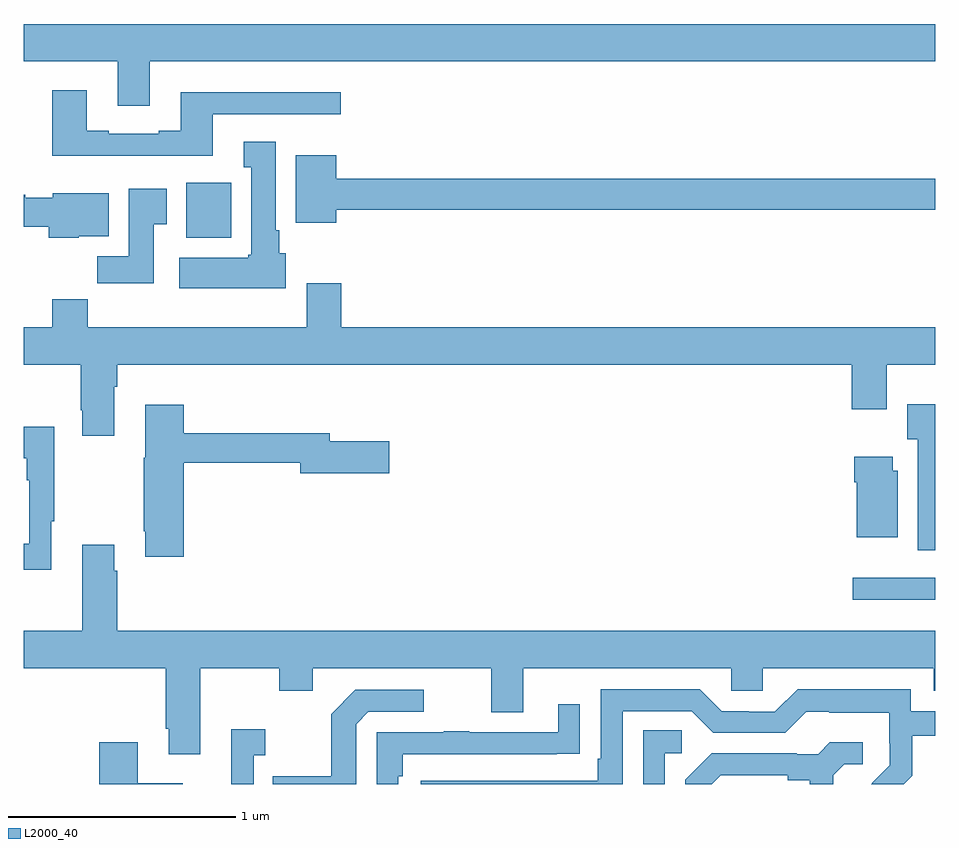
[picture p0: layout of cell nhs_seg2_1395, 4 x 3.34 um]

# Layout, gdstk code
import gdstk
lib = gdstk.Library(unit=1e-6, precision=1e-09)
def R(c, l, rs):  # rectangles x0, y0, x1, y1
    for r in rs: c.add(gdstk.rectangle(r[:2], r[2:], *l))
def P(c, l, *ps):  # polygons
    for p in ps: c.add(gdstk.Polygon(p, *l))
L2000_40 = (2000, 40)

nhs_seg2_1395 = lib.new_cell('nhs_seg2_1395')
R(nhs_seg2_1395, L2000_40, [(186.639,642.608,187,642.705), (183.713,644.198,183.91,644.44)])
P(nhs_seg2_1395, L2000_40, [(183.553,644.972),(187,644.972),(187,645.136),(183,645.136),(183,644.972),(183.413,644.972),(183.413,644.778),(183.553,644.778)],
  [(183.829,644.739),(184.39,644.739),(184.39,644.836),(183.689,644.836),(183.689,644.668),(183.593,644.668),(183.593,644.655),(183.373,644.655),(183.373,644.668),(183.277,644.668),(183.277,644.845),(183.125,644.845),(183.125,644.558),(183.829,644.558)],
  [(184.15,644.13),(184.12,644.13),(184.12,644.23),(184.105,644.23),(184.105,644.62),(183.965,644.62),(183.965,644.507),(183.998,644.507),(183.998,644.124),(183.985,644.124),(183.985,644.11),(183.681,644.11),(183.681,643.976),(184.15,643.976)],
  [(184.372,644.32),(187,644.32),(187,644.456),(184.372,644.456),(184.372,644.56),(184.193,644.56),(184.193,644.264),(184.372,644.264)],
  [(183.571,644.257),(183.628,644.257),(183.628,644.413),(183.461,644.413),(183.461,644.116),(183.322,644.116),(183.322,643.998),(183.571,643.998)],
  [(183.24,644.204),(183.373,644.204),(183.373,644.392),(183.126,644.392),(183.126,644.374),(183.006,644.374),(183.006,644.387),(183,644.387),(183,644.245),(183.11,644.245),(183.11,644.198),(183.24,644.198)],
  [(183.397,643.544),(183.41,643.544),(183.41,643.64),(186.635,643.64),(186.635,643.446),(186.787,643.446),(186.787,643.64),(187,643.64),(187,643.804),(184.394,643.804),(184.394,643.999),(184.241,643.999),(184.241,643.804),(183.281,643.804),(183.281,643.928),(183.125,643.928),(183.125,643.804),(183,643.804),(183,643.64),(183.25,643.64),(183.25,643.441),(183.257,643.441),(183.257,643.329),(183.397,643.329)],
  [(187,643.468),(186.878,643.468),(186.878,643.314),(186.923,643.314),(186.923,642.825),(187,642.825)],
  [(183.701,643.21),(184.214,643.21),(184.214,643.163),(184.603,643.163),(184.603,643.305),(184.342,643.305),(184.342,643.339),(183.701,643.339),(183.701,643.465),(183.533,643.465),(183.533,643.233),(183.526,643.233),(183.526,642.91),(183.533,642.91),(183.533,642.798),(183.701,642.798)],
  [(183.121,642.953),(183.133,642.953),(183.133,643.369),(183,643.369),(183,643.229),(183.012,643.229),(183.012,643.133),(183.024,643.133),(183.024,642.854),(183,642.854),(183,642.741),(183.121,642.741)],
  [(186.835,643.176),(186.814,643.176),(186.814,643.237),(186.644,643.237),(186.644,643.124),(186.656,643.124),(186.656,642.884),(186.835,642.884)],
  [(183.775,642.308),(184.12,642.308),(184.12,642.209),(184.267,642.209),(184.267,642.308),(185.051,642.308),(185.051,642.114),(185.191,642.114),(185.191,642.308),(186.105,642.308),(186.105,642.21),(186.243,642.21),(186.243,642.308),(186.995,642.308),(186.995,642.209),(187,642.209),(187,642.472),(183.41,642.472),(183.41,642.737),(183.397,642.737),(183.397,642.85),(183.257,642.85),(183.257,642.472),(183,642.472),(183,642.308),(183.623,642.308),(183.623,642.043),(183.635,642.043),(183.635,641.931),(183.775,641.931)],
  [(185.628,642.12),(185.931,642.12),(186.027,642.024),(186.342,642.024),(186.435,642.117),(186.535,642.117),(186.535,642.113),(186.798,642.113),(186.798,641.979),(186.8,641.979),(186.8,641.882),(186.726,641.808),(186.727,641.807),(186.72,641.8),(186.862,641.8),(186.899,641.837),(186.899,642.012),(187,642.012),(187,642.12),(186.894,642.12),(186.894,642.217),(186.397,642.217),(186.297,642.117),(186.182,642.117),(186.182,642.12),(186.063,642.12),(185.967,642.216),(185.532,642.216),(185.532,641.911),(185.519,641.911),(185.519,641.814),(184.743,641.814),(184.743,641.8),(185.628,641.8)],
  [(184.458,642.063),(184.512,642.117),(184.756,642.117),(184.756,642.213),(184.455,642.213),(184.35,642.107),(184.35,641.835),(184.093,641.835),(184.093,641.8),(184.458,641.8)],
  [(184.644,641.834),(184.664,641.834),(184.664,641.931),(185.339,641.931),(185.339,641.932),(185.441,641.932),(185.441,642.151),(185.345,642.151),(185.345,642.027),(184.955,642.027),(184.955,642.032),(184.843,642.032),(184.843,642.027),(184.548,642.027),(184.548,641.8),(184.644,641.8)],
  [(184.008,641.927),(184.06,641.927),(184.06,642.04),(183.911,642.04),(183.911,641.8),(184.008,641.8)],
  [(185.814,641.934),(185.887,641.934),(185.887,642.035),(185.718,642.035),(185.718,641.8),(185.814,641.8)],
  [(183.697,641.803),(183.499,641.803),(183.499,641.983),(183.332,641.983),(183.332,641.8),(183.697,641.8)],
  [(186.058,641.838),(186.353,641.838),(186.353,641.816),(186.449,641.816),(186.449,641.8),(186.553,641.8),(186.553,641.839),(186.6,641.886),(186.682,641.886),(186.682,641.983),(186.538,641.983),(186.486,641.931),(186.392,641.931),(186.392,641.934),(186.02,641.934),(185.904,641.818),(185.904,641.8),(186.02,641.8)])

lib.write_gds('nhs_seg2_1395.gds')
